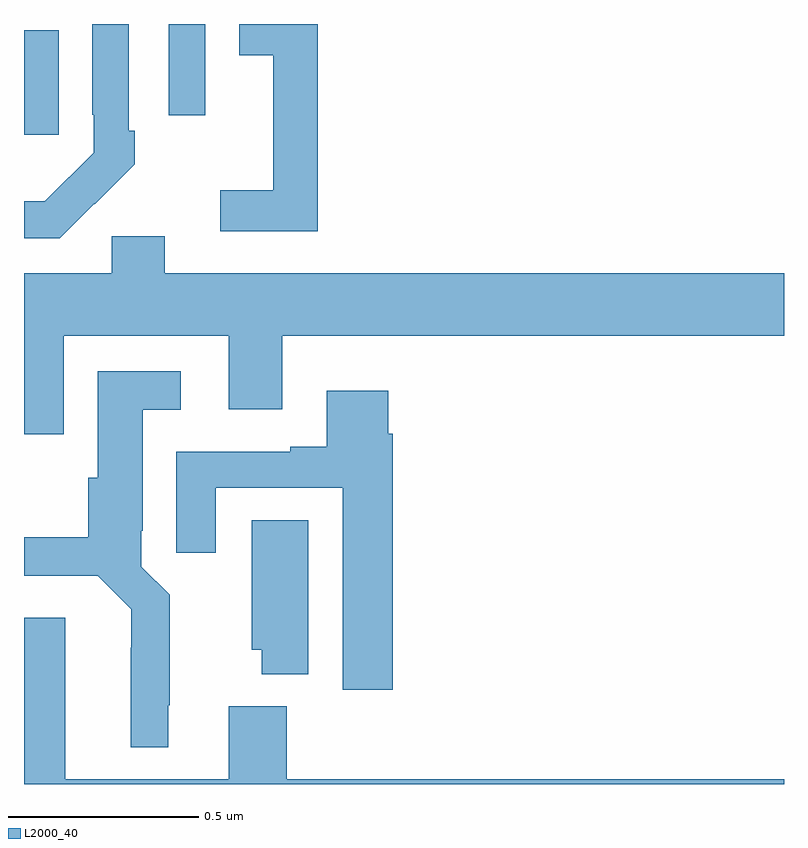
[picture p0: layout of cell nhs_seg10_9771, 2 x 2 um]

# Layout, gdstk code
import gdstk
lib = gdstk.Library(unit=1e-6, precision=1e-09)
def R(c, l, rs):  # rectangles x0, y0, x1, y1
    for r in rs: c.add(gdstk.rectangle(r[:2], r[2:], *l))
def P(c, l, *ps):  # polygons
    for p in ps: c.add(gdstk.Polygon(p, *l))
L2000_40 = (2000, 40)

nhs_seg10_9771 = lib.new_cell('nhs_seg10_9771')
R(nhs_seg10_9771, L2000_40, [(234,1270.209,234.091,1270.483), (234.381,1270.26,234.477,1270.5)])
P(nhs_seg10_9771, L2000_40, [(234.773,1270.5),(234.566,1270.5),(234.566,1270.418),(234.656,1270.418),(234.656,1270.063),(234.516,1270.063),(234.516,1269.954),(234.773,1269.954)],
  [(234.185,1270.027),(234.186,1270.026),(234.291,1270.131),(234.291,1270.219),(234.276,1270.219),(234.276,1270.5),(234.18,1270.5),(234.18,1270.261),(234.183,1270.261),(234.183,1270.161),(234.055,1270.033),(234,1270.033),(234,1269.936),(234.094,1269.936)],
  [(234.105,1269.68),(234.539,1269.68),(234.539,1269.486),(234.679,1269.486),(234.679,1269.68),(236,1269.68),(236,1269.844),(234.37,1269.844),(234.37,1269.942),(234.231,1269.942),(234.231,1269.844),(234,1269.844),(234,1269.42),(234.105,1269.42)],
  [(234.379,1268.707),(234.383,1268.707),(234.383,1268.998),(234.309,1269.072),(234.309,1269.166),(234.313,1269.166),(234.313,1269.485),(234.412,1269.485),(234.412,1269.586),(234.194,1269.586),(234.194,1269.306),(234.169,1269.306),(234.169,1269.149),(234,1269.149),(234,1269.048),(234.194,1269.048),(234.282,1268.96),(234.282,1268.858),(234.281,1268.858),(234.281,1268.597),(234.379,1268.597)],
  [(234.971,1269.422),(234.958,1269.422),(234.958,1269.535),(234.797,1269.535),(234.797,1269.388),(234.701,1269.388),(234.701,1269.375),(234.401,1269.375),(234.401,1269.108),(234.505,1269.108),(234.505,1269.279),(234.839,1269.279),(234.839,1268.748),(234.971,1268.748)],
  [(234.748,1269.194),(234.599,1269.194),(234.599,1268.853),(234.626,1268.853),(234.626,1268.789),(234.748,1268.789)],
  [(236,1268.512),(234.692,1268.512),(234.692,1268.704),(234.539,1268.704),(234.539,1268.512),(234.109,1268.512),(234.109,1268.938),(234,1268.938),(234,1268.5),(236,1268.5)])

lib.write_gds('nhs_seg10_9771.gds')
